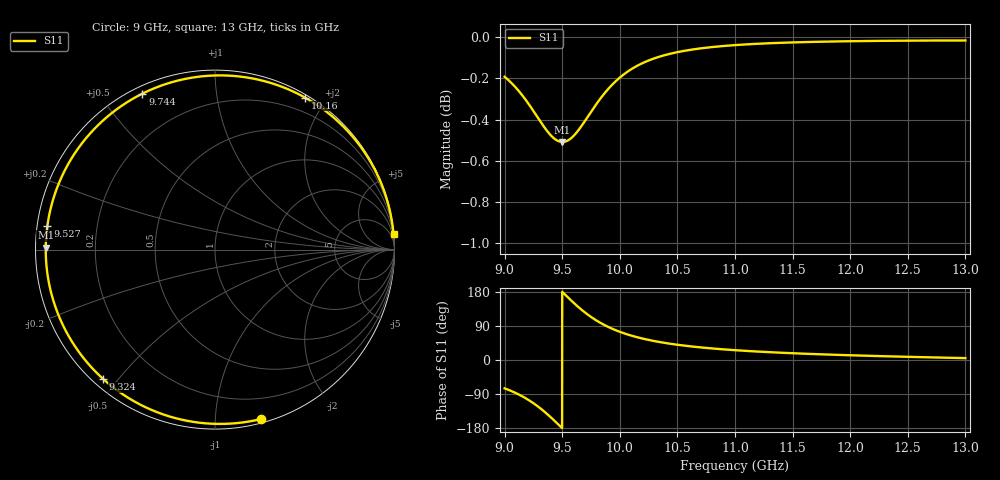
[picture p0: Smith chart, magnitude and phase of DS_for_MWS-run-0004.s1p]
! TOUCHSTONE file generated by CST DESIGN STUDIO
! Date and time: Tue Feb  4 13:49:52 2025
! Project name: C:\Work\MatlabApps\UnitCellOptimizationMatlab\CST\unitcell.cst
! Tree item: Tasks\Sweep1\SPara1\S-Parameters
! Header version: 2024
! Port assignment regex: !\s*Touchstone port\s*([0-9]+)\s*=\s*(CST MWS port|CST DES external port|CST DES block port)\s*(.+)\s* \(\"(.*)\"\)(\s*mode\s*([0-9]+))?.*
! Touchstone port assignment:
! Touchstone port 1 = CST DES external port 1 ("")
# GHz S MA R 50
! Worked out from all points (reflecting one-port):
!   4001 points, 9 GHz to 13 GHz, reference 50 ohm
!   lowest |S11| = -0.5 dB at 9.502 GHz (marker M1), VSWR 34.15, Z = 1.46 + j0.303 ohm
!   phase of S11 starts at -75 deg and turns -280 deg over the sweep
!   S11 on the Smith chart (normalised r, x): 9 GHz: 0.03, -1.31; 9.324 GHz: 0.03, -0.46; 9.527 GHz: 0.03, +0.07; 9.744 GHz: 0.03, +0.64; 10.16 GHz: 0.03, +1.75; 13 GHz: 0, +23
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9  0.9782 -74.8
9.085  0.9731 -85.5
9.187  0.9653 -101.7
9.258  0.9589 -115.7
9.324  0.9528 -130.9
9.371  0.9488 -143.0
9.42  0.9455 -156.6
9.461  0.9437 -168.5
9.5  0.9431 179.9
9.502  0.9431 179.3
9.527  0.9433 171.9
9.58  0.9452 156.4
9.64  0.9493 139.8
9.691  0.9537 127.0
9.744  0.9586 114.9
9.796  0.9633 104.5
9.854  0.9681 94.3
9.926  0.9733 83.5
10  0.9777 74.4
10.16  0.9845 59.4
10.314  0.9886 49.1
10.5  0.9917 40.2
10.722  0.994 32.6
11  0.9956 25.9
11.5  0.9971 17.8
12  0.9978 12.5
12.5  0.9981 8.4
13  0.9982 5.0
